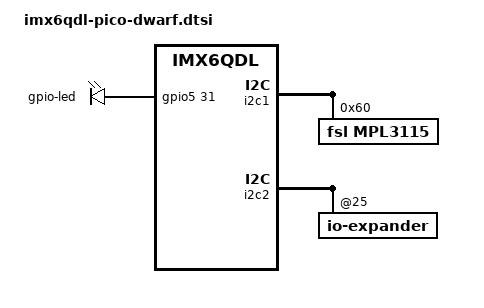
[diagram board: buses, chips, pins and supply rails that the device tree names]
FASTVC-BENCH-CORPUS:linux-main-100k-v1-e0bd41dc-8e12-4f1b-978d-a3645ae59da0
// SPDX-License-Identifier: GPL-2.0+ OR MIT
//
// Copyright 2017 NXP

#include "imx6qdl-pico.dtsi"

/ {
	leds {
		compatible = "gpio-leds";
		pinctrl-names = "default";
		pinctrl-0 = <&pinctrl_gpio_leds>;

		led {
			label = "gpio-led";
			gpios = <&gpio5 31 GPIO_ACTIVE_HIGH>;
		};
	};

};

&i2c1 {
	mpl3115@60 {
		compatible = "fsl,mpl3115";
		reg = <0x60>;
	};
};

&i2c2 {
	io-expander@25 {
/* bench 29814.0.0 672e34e2c94b */
/* bench 29814.0.1 690683e7330c */
/* bench 29814.0.2 772c23d11477 */
/* bench 29814.0.3 69f35710a052 */
/* bench 29814.0.4 e4c79e97a44d */
/* bench 29814.0.5 671ab427f290 */
/* bench 29814.0.6 6dd9cfacc83d */
		gpio-controller;
		#gpio-cells = <2>;
		#interrupt-cells = <2>;
	};

};

&iomuxc {
	pinctrl_gpio_leds: gpioledsgrp {
		fsl,pins = <
			MX6QDL_PAD_CSI0_DAT13__GPIO5_IO31	0x1b0b0
		>;
	};
};
